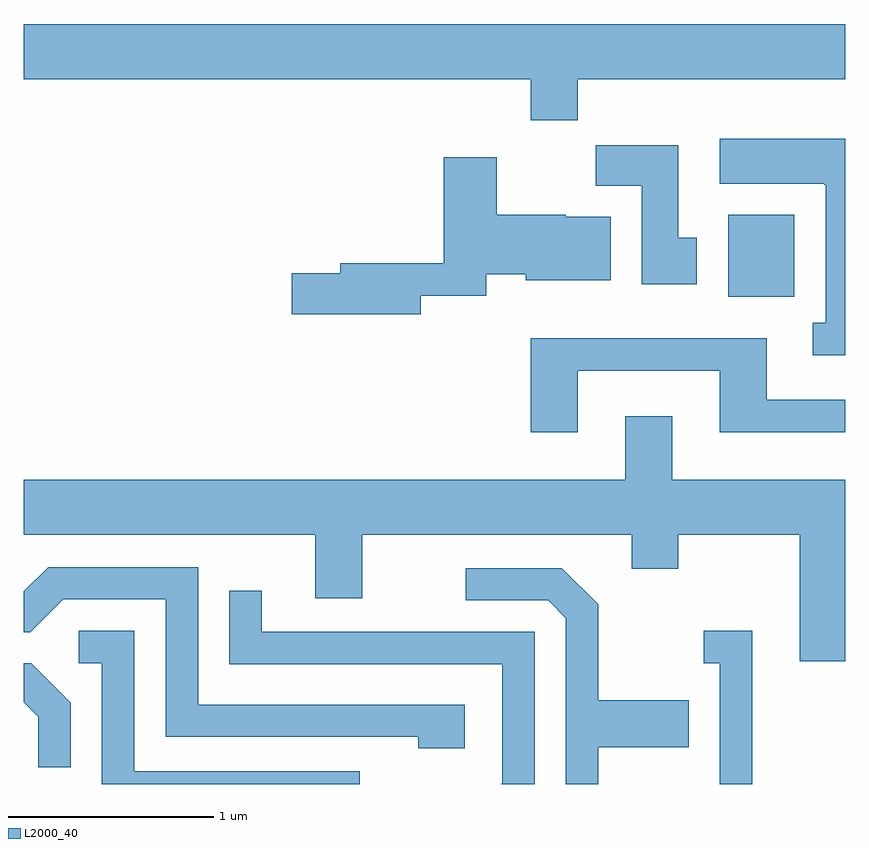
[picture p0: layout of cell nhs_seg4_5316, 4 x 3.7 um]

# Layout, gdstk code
import gdstk
lib = gdstk.Library(unit=1e-6, precision=1e-09)
def R(c, l, rs):  # rectangles x0, y0, x1, y1
    for r in rs: c.add(gdstk.rectangle(r[:2], r[2:], *l))
def P(c, l, *ps):  # polygons
    for p in ps: c.add(gdstk.Polygon(p, *l))
L2000_40 = (2000, 40)

nhs_seg4_5316 = lib.new_cell('nhs_seg4_5316')
R(nhs_seg4_5316, L2000_40, [(345.041,1280.356,345.364,1280.754)])
P(nhs_seg4_5316, L2000_40, [(344.309,1281.416),(345.611,1281.416),(345.611,1281.684),(341.611,1281.684),(341.611,1281.416),(344.081,1281.416),(344.081,1281.216),(344.309,1281.216)],
  [(345.611,1281.124),(345.001,1281.124),(345.001,1280.906),(345.51,1280.906),(345.51,1280.9),(345.516,1280.9),(345.516,1280.229),(345.453,1280.229),(345.453,1280.071),(345.611,1280.071)],
  [(344.889,1280.644),(344.799,1280.644),(344.799,1281.094),(344.396,1281.094),(344.396,1280.896),(344.621,1280.896),(344.621,1280.416),(344.889,1280.416)],
  [(343.544,1280.361),(343.864,1280.361),(343.864,1280.466),(344.056,1280.466),(344.056,1280.436),(344.469,1280.436),(344.469,1280.744),(344.25,1280.744),(344.25,1280.754),(343.914,1280.754),(343.914,1281.034),(343.656,1281.034),(343.656,1280.519),(343.151,1280.519),(343.151,1280.469),(342.916,1280.469),(342.916,1280.271),(343.544,1280.271)],
  [(344.309,1279.996),(345.001,1279.996),(345.001,1279.696),(345.611,1279.696),(345.611,1279.854),(345.229,1279.854),(345.229,1280.154),(344.081,1280.154),(344.081,1279.696),(344.309,1279.696)],
  [(345.611,1279.464),(344.769,1279.464),(344.769,1279.774),(344.541,1279.774),(344.541,1279.464),(341.611,1279.464),(341.611,1279.196),(343.031,1279.196),(343.031,1278.886),(343.259,1278.886),(343.259,1279.196),(344.571,1279.196),(344.571,1279.031),(344.799,1279.031),(344.799,1279.196),(345.391,1279.196),(345.391,1278.581),(345.611,1278.581)],
  [(343.759,1278.369),(342.459,1278.369),(342.459,1279.039),(341.729,1279.039),(341.611,1278.921),(341.611,1278.721),(341.642,1278.721),(341.802,1278.881),(342.301,1278.881),(342.301,1278.211),(343.531,1278.211),(343.531,1278.156),(343.759,1278.156)],
  [(344.409,1278.161),(344.849,1278.161),(344.849,1278.389),(344.409,1278.389),(344.409,1278.857),(344.232,1279.034),(343.763,1279.034),(343.763,1278.876),(344.164,1278.876),(344.251,1278.789),(344.251,1277.982),(344.409,1277.982)],
  [(344.099,1278.724),(342.769,1278.724),(342.769,1278.923),(342.611,1278.923),(342.611,1278.566),(343.941,1278.566),(343.941,1277.987),(343.936,1277.982),(344.099,1277.982)],
  [(345.159,1278.729),(344.923,1278.729),(344.923,1278.571),(345.001,1278.571),(345.001,1277.982),(345.159,1277.982)],
  [(343.248,1278.044),(342.149,1278.044),(342.149,1278.729),(341.878,1278.729),(341.878,1278.571),(341.991,1278.571),(341.991,1277.982),(343.248,1277.982)],
  [(341.839,1278.377),(341.647,1278.569),(341.611,1278.569),(341.611,1278.379),(341.681,1278.309),(341.681,1278.063),(341.839,1278.063)])

lib.write_gds('nhs_seg4_5316.gds')
